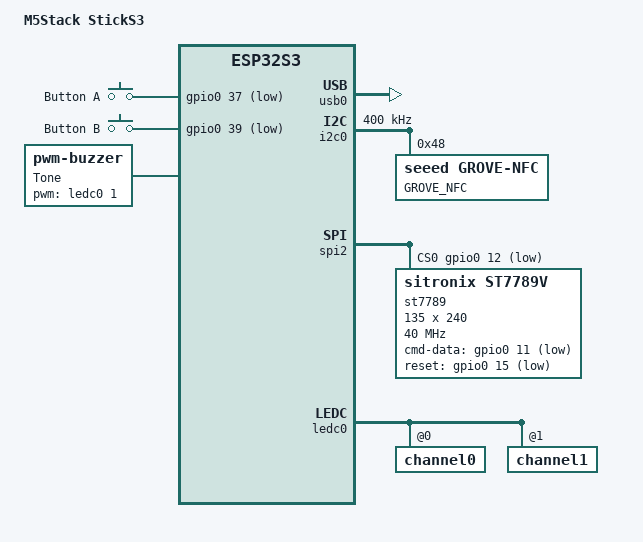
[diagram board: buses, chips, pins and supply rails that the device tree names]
/dts-v1/;

#include <espressif/esp32s3/esp32s3_fn8.dtsi>
#include "m5stack_sticks3-pinctrl.dtsi"
#include <zephyr/dt-bindings/input/input-event-codes.h>

/ {
	model = "M5Stack StickS3";
	compatible = "m5stack,sticks3";

	chosen {
		zephyr,sram    = &sram0;
		zephyr,flash   = &flash0;
		zephyr,console = &cdc_acm_uart0;
		zephyr,shell-uart = &cdc_acm_uart0;
		zephyr,display = &st7789;
	};

	aliases {
		sw0       = &btn_a;
		sw1       = &btn_b;
		grove-nfc = &grove_nfc;
		pwm-tone  = &pwm_tone;
	};

	buttons {
		compatible = "gpio-keys";
		btn_a: button_a {
			gpios = <&gpio0 37 (GPIO_PULL_UP | GPIO_ACTIVE_LOW)>;
			label = "Button A";
			zephyr,code = <INPUT_KEY_0>;
		};
		btn_b: button_b {
			gpios = <&gpio0 39 (GPIO_PULL_UP | GPIO_ACTIVE_LOW)>;
			label = "Button B";
			zephyr,code = <INPUT_KEY_1>;
		};
	};

	pwm_tone: pwm-tone {
		compatible = "pwm-buzzer";
		pwms = <&ledc0 1 PWM_HZ(1000) PWM_POLARITY_NORMAL>;
		label = "Tone";
	};
};

&usb0 {
	status = "okay";
	cdc_acm_uart0: cdc_acm_uart0 {
		compatible = "zephyr,cdc-acm-uart";
	};
};

&i2c0 {
	status = "okay";
	clock-frequency = <I2C_BITRATE_FAST>;
	pinctrl-0 = <&i2c0_default>;
	pinctrl-names = "default";

	grove_nfc: grove_nfc@48 {
		compatible = "seeed,grove-nfc";
		reg = <0x48>;
		label = "GROVE_NFC";
		status = "okay";
	};
};

&spi2 {
	status = "okay";
	pinctrl-0 = <&spi2_default>;
	pinctrl-names = "default";
	cs-gpios = <&gpio0 12 GPIO_ACTIVE_LOW>;

	st7789: st7789@0 {
		compatible = "sitronix,st7789v";
		reg = <0>;
		spi-max-frequency = <DT_FREQ_M(40)>;
		cmd-data-gpios = <&gpio0 11 GPIO_ACTIVE_LOW>;
		reset-gpios    = <&gpio0 15 GPIO_ACTIVE_LOW>;
		width    = <135>;
		height   = <240>;
		x-offset = <52>;
		y-offset = <40>;
		vcom     = <0x2B>;
		gctrl    = <0x35>;
		vrhs     = <0x0F>;
		vdvs     = <0x20>;
		mdac     = <0x00>;
		gamma    = <0x01>;
		colmod   = <0x55>;
		lcm      = <0x2C>;
		porch-param  = [0c 0c 00 33 33];
		cmd2en-param = [5a 69 02 c3];
		pwctrl1-param = [52 A1];
		pvgam-param  = [D0 08 0F 0A 0A 26 2D 44 4B 39 14 13 25 2A];
		nvgam-param  = [D0 08 10 09 09 25 2C 43 4C 38 15 13 24 29];
		ram-param    = [00 F8];
		rgb-param    = [CD 08 14];
	};
};

&ledc0 {
	status = "okay";
	pinctrl-0 = <&ledc0_default>;
	pinctrl-names = "default";
	#address-cells = <1>;
	#size-cells = <0>;
	channel0@0 { reg = <0x0>; timer = <0>; };
	channel1@1 { reg = <0x1>; timer = <1>; };
};

&flash0 {
	partitions {
		compatible = "fixed-partitions";
		#address-cells = <1>;
		#size-cells = <1>;
		slot0_partition: partition@10000 {
			label = "image-0";
			reg = <0x00010000 0x5F0000>;
		};
		storage_partition: partition@780000 {
			label = "storage";
			reg = <0x00780000 0x80000>;
		};
	};
};
